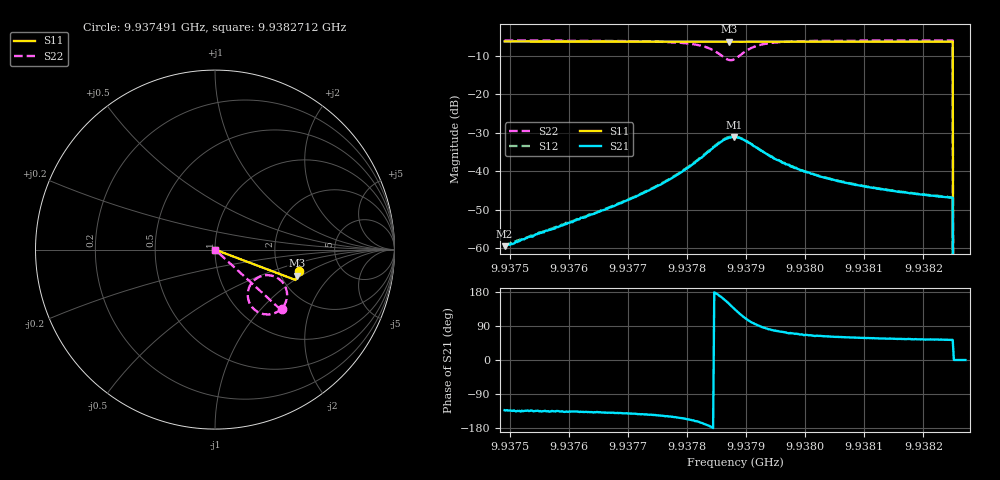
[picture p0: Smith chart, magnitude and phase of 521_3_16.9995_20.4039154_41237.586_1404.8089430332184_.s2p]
#  HZ  S  RI  R  50.00
! Rohde & Schwarz Vector Network Analyzer
! Rohde-Schwarz,ZNB20-2Port,1311601062101988,3.16
! Created: UTC 3/20/2024, 11:15:25 PM
! freq[Hz]  re:S11  im:S11  re:S21  im:S21  re:S12  im:S12  re:S22  im:S22
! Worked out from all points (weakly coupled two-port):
!   401 points, 9.937491 GHz to 9.9382712 GHz, reference 50 ohm
!   highest |S21| = -31.09 dB at 9.9378792 GHz (marker M1); lowest = -59.4 dB at 9.937491 GHz (marker M2)
!   lowest |S11| = -6.4 dB at 9.9378714 GHz (marker M3), VSWR 2.83, Z = 122 - j45.5 ohm
!   |S11| at or under -10 dB: 9.9382498 GHz to end of sweep
!   |S22| runs from - to -6.1 dB; largest |S21 - S12| = 0.0012
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9.93749098e9  0.4675 -0.1209  -0.000721 -0.000787  -0.000763 -0.000773  0.3713 -0.3298
9.93762167e9  0.4644 -0.1296  -0.00182 -0.00171  -0.00185 -0.00166  0.3555 -0.3417
9.93768799e9  0.4628 -0.1341  -0.00295 -0.00247  -0.00305 -0.00248  0.3418 -0.3496
9.93775236e9  0.4609 -0.1386  -0.00548 -0.00366  -0.00563 -0.00362  0.3175 -0.3585
9.93779333e9  0.4596 -0.1415  -0.00909 -0.00442  -0.00933 -0.00434  0.2856 -0.3611
9.93783039e9  0.4578 -0.1438  -0.0162 -0.00303  -0.0167 -0.00272  0.2292 -0.3417
9.93784404e9  0.457 -0.1445  -0.0202 -0.000146  -0.0206 0.00028  0.2014 -0.3136
9.93785575e9  0.4561 -0.1447  -0.0232 0.00468  -0.0235 0.00537  0.1842 -0.2707
9.93787135e9  0.4555 -0.1445  -0.0231 0.0145  -0.0232 0.0155  0.1996 -0.1927
9.93787915e9  0.4555 -0.1445  -0.0201 0.0193  -0.0198 0.0204  0.231 -0.1609
9.9378811e9  0.4557 -0.1444  -0.0191 0.0201  -0.0186 0.0211  0.2409 -0.1551
9.93789086e9  0.4561 -0.1445  -0.0132 0.0232  -0.0125 0.0239  0.2914 -0.1424
9.93790451e9  0.4567 -0.1453  -0.00566 0.0227  -0.00511 0.023  0.3485 -0.1581
9.93792597e9  0.4569 -0.147  0.000826 0.0185  0.00126 0.0184  0.39 -0.2032
9.93796303e9  0.4565 -0.1501  0.00367 0.0123  0.00404 0.0123  0.4014 -0.2564
9.93798644e9  0.4559 -0.1518  0.00391 0.01  0.00417 0.01  0.3991 -0.2756
9.9380118e9  0.4554 -0.1536  0.00401 0.00836  0.00409 0.00837  0.3954 -0.2895
9.93806641e9  0.4541 -0.1573  0.00356 0.00618  0.00374 0.00621  0.3871 -0.3083
9.93814249e9  0.452 -0.1625  0.0031 0.0047  0.00325 0.00469  0.3773 -0.323
9.93824587e9  0.449 -0.1692  0.00273 0.00367  0.00283 0.00362  0.3674 -0.335
9.93825562e9  0 0  0 0  0 0  0 0
9.93827123e9  0 0  0 0  0 0  0 0
